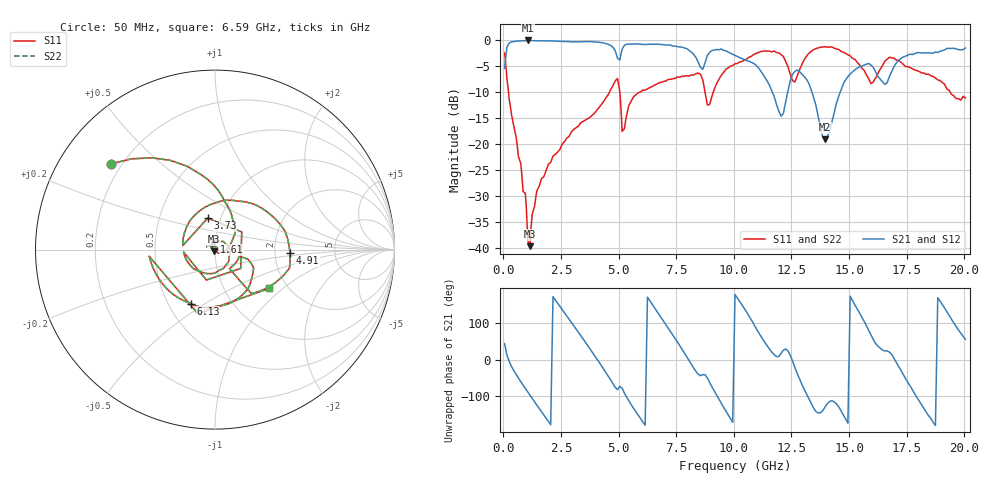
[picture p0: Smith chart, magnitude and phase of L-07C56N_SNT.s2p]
#	mhz	s	ma	r	50
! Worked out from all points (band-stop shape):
!   1001 points, 50 MHz to 20.05 GHz, reference 50 ohm
!   highest |S21| = -0.08 dB at 1.05 GHz (marker M1); lowest = -19.1 dB at 13.95 GHz (marker M2)
!   |S21| within 3 dB of the highest: 102.5 MHz to 4.923 GHz (4.82 GHz wide, 192 % of centre); 5.084 GHz to 8.311 GHz (3.227 GHz wide, 48.2 % of centre) (the widest 2 of 4)
!   lowest |S11| = -39.6 dB at 1.15 GHz (marker M3), VSWR 1.02, Z = 49.5 - j0.933 ohm
!   |S11| at or under -10 dB: 220.1 MHz to 4.6 GHz (4.38 GHz wide, 182 % of centre); 5.051 GHz to 5.929 GHz (877.7 MHz wide, 16 % of centre); 19.39 GHz to end of sweep (the widest 3 of 4)
!   |S22| runs from -39.6 to -1.3 dB; largest |S21 - S12| = 0
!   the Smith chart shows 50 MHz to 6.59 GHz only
!   S11 on the Smith chart (normalised r, x): 50 MHz: 0.16, +0.35; 1.61 GHz: 0.98, +0.09; 3.73 GHz: 0.87, +0.31; 4.91 GHz: 2.43, -0.12; 6.13 GHz: 0.65, -0.44; 6.59 GHz: 1.61, -0.81
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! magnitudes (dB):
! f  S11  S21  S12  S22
! 50 MHz  -2.5  -5.5  -5.5  -2.5
! 1.05 GHz  -38.5  -0.1  -0.1  -38.5
! 1.15 GHz  -39.6  -0.1  -0.1  -39.6
! 1.61 GHz  -27.2  -0.1  -0.1  -27.2
! 3.39 GHz  -15.8  -0.3  -0.3  -15.8
! 3.73 GHz  -14.9  -0.3  -0.3  -14.9
! 4.91 GHz  -7.6  -2.9  -2.9  -7.6
! 5.23 GHz  -17.1  -1.1  -1.1  -17.1
! 6.13 GHz  -9.6  -0.9  -0.9  -9.6
! 6.59 GHz  -8.6  -0.8  -0.8  -8.6
! 6.73 GHz  -8.3  -0.8  -0.8  -8.3
! 8.47 GHz  -6.4  -4.4  -4.4  -6.4
! 8.91 GHz  -12.4  -2.6  -2.6  -12.4
! 10.05 GHz  -4.6  -2.9  -2.9  -4.6
! 12.05 GHz  -2.8  -14.6  -14.6  -2.8
! 12.67 GHz  -7.8  -6.0  -6.0  -7.8
! 13.39 GHz  -2.1  -10.0  -10.0  -2.1
! 13.95 GHz  -1.3  -19.1  -19.1  -1.3
! 15.15 GHz  -3.5  -6.1  -6.1  -3.5
! 15.99 GHz  -8.3  -5.0  -5.0  -8.3
! 16.73 GHz  -3.4  -7.3  -7.3  -3.4
! 20.05 GHz  -11.1  -1.5  -1.5  -11.1
